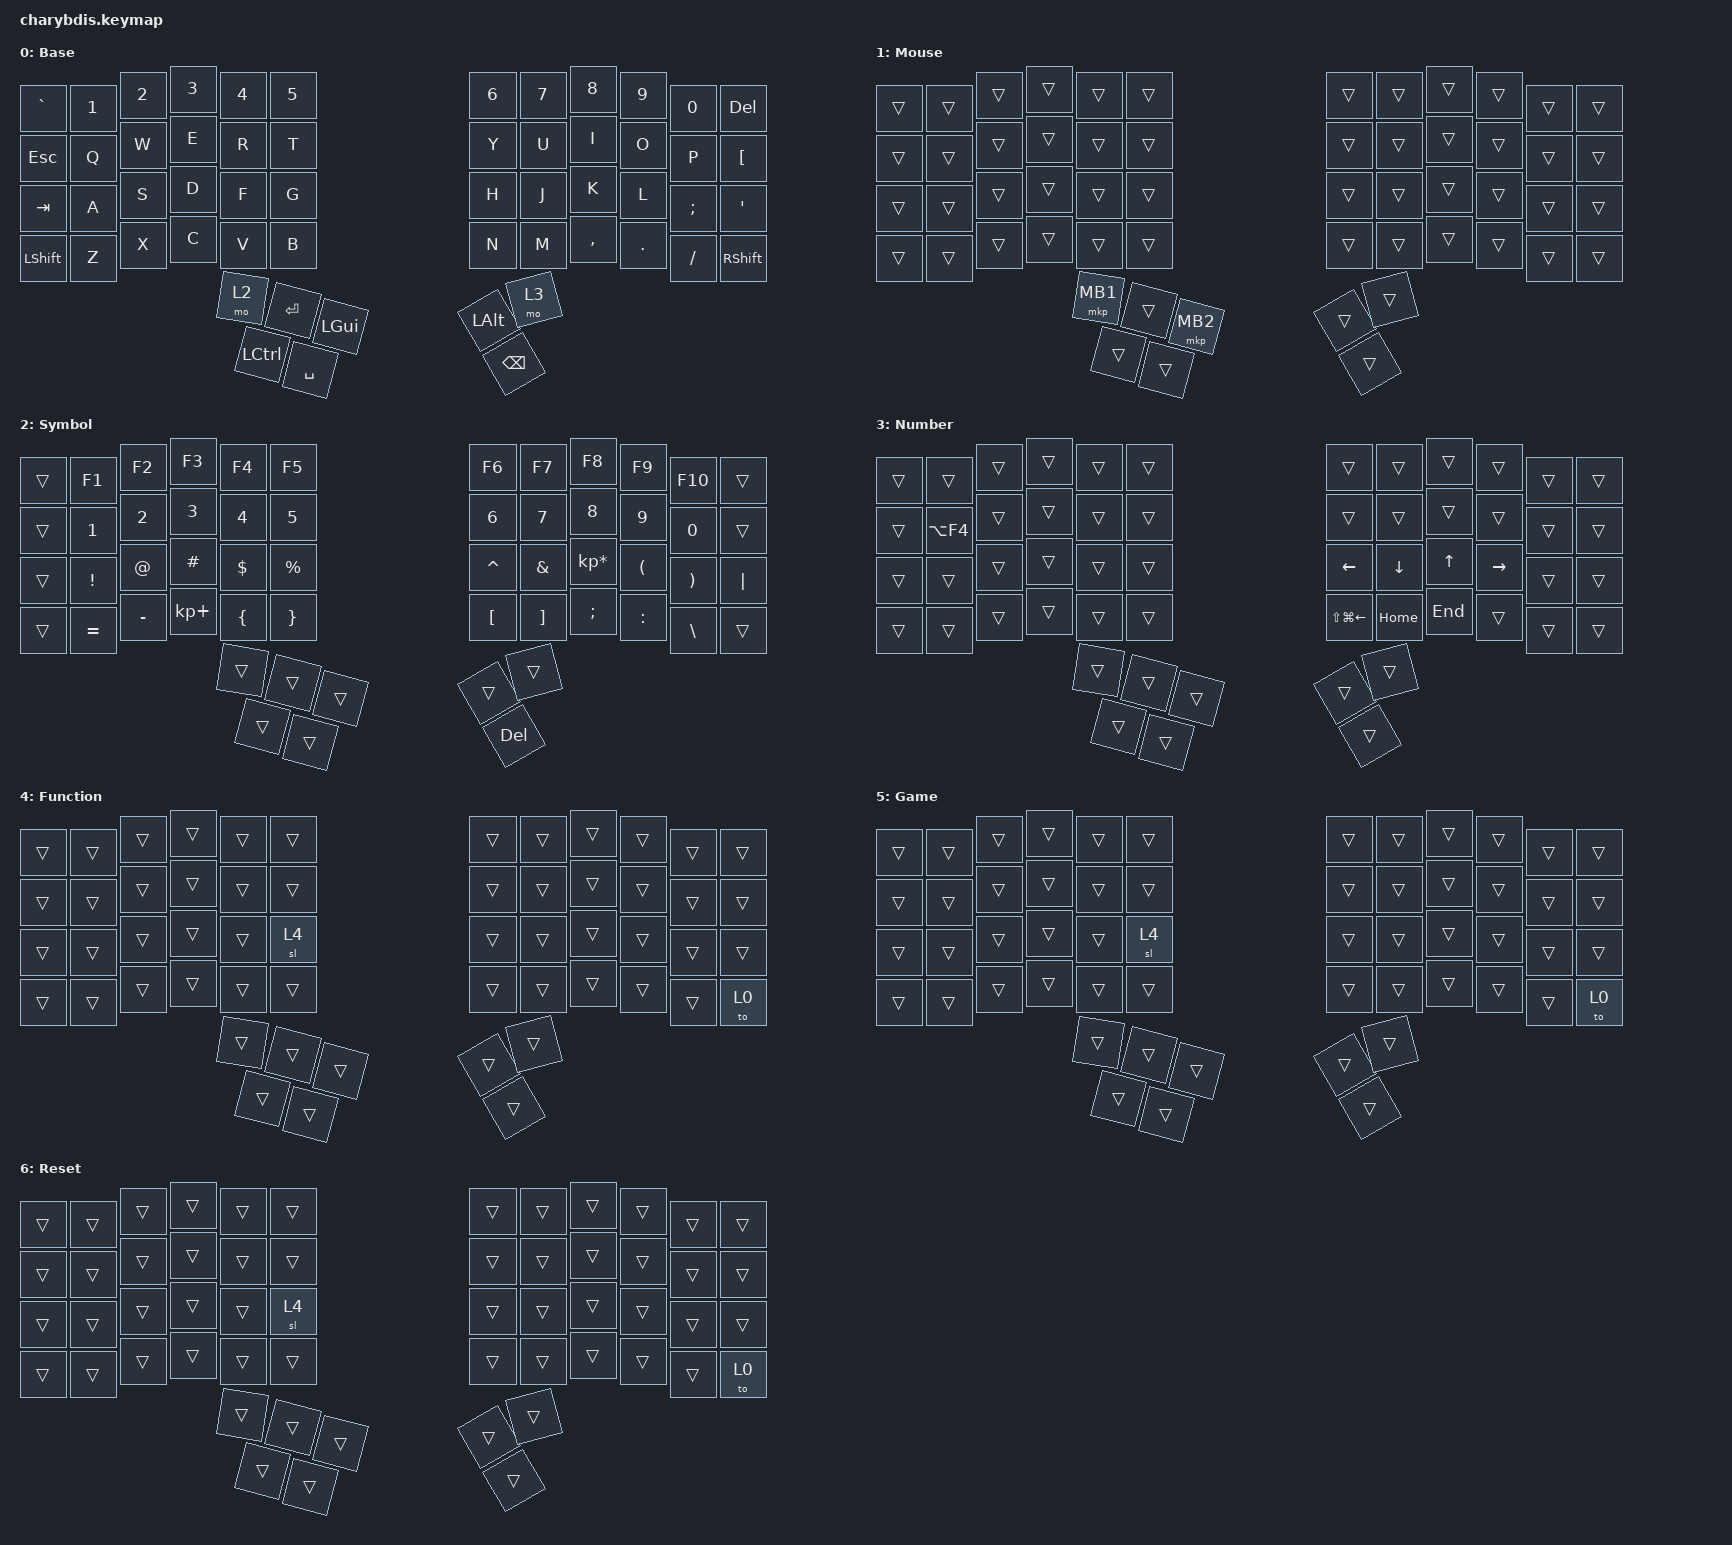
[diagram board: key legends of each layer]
#include <behaviors.dtsi>
#include <dt-bindings/zmk/keys.h>
#include <dt-bindings/zmk/pointing.h>

#define BASE 0
#define MOUSE 1
#define SYMBOL 2
#define NUMBER 3
#define FUNCTION 4
#define GAME 5
#define RESET 6
#define KEYS_L 0 1 2 3 4 10 11 12 13 14 20 21 22 23 24
#define KEYS_R 5 6 7 8 9 15 16 17 18 19 25 26 27 28 29
#define THUMBS 30 31 32 33 34 35

&sk {
    release-after-ms = <600>;
    quick-release;
};

&sl { ignore-modifiers; };

&mt { flavor = "tap-preferred"; };

&lt {
    flavor = "balanced";
    tapping-term-ms = <200>;
    quick-tap-ms = <175>;
};

&caps_word { /delete-property/ ignore-modifiers; };

/ {
    behaviors {
        hml: hml {
            compatible = "zmk,behavior-hold-tap";
            #binding-cells = <2>;
            flavor = "balanced";
            tapping-term-ms = <2000>;
            quick-tap-ms = <175>;
            require-prior-idle-ms = <250>;
            hold-trigger-key-positions = <KEYS_R THUMBS>;
            hold-trigger-on-release;
            bindings = <&kp>, <&kp>;
        };

        hmr: hmr {
            compatible = "zmk,behavior-hold-tap";
            #binding-cells = <2>;
            flavor = "balanced";
            tapping-term-ms = <2000>;
            quick-tap-ms = <175>;
            require-prior-idle-ms = <250>;
            hold-trigger-key-positions = <KEYS_L THUMBS>;
            hold-trigger-on-release;
            bindings = <&kp>, <&kp>;
        };

        hml_s: hml_s {
            compatible = "zmk,behavior-hold-tap";
            #binding-cells = <2>;
            flavor = "balanced";
            tapping-term-ms = <2000>;
            quick-tap-ms = <175>;
            require-prior-idle-ms = <0>;
            hold-trigger-key-positions = <KEYS_R THUMBS>;
            hold-trigger-on-release;
            bindings = <&kp>, <&kp>;
        };

        hmr_s: hmr_s {
            compatible = "zmk,behavior-hold-tap";
            #binding-cells = <2>;
            flavor = "balanced";
            tapping-term-ms = <2000>;
            quick-tap-ms = <175>;
            require-prior-idle-ms = <0>;
            hold-trigger-key-positions = <KEYS_L THUMBS>;
            hold-trigger-on-release;
            bindings = <&kp>, <&kp>;
        };

        smart_shift: smart_shift {
            compatible = "zmk,behavior-mod-morph";
            #binding-cells = <0>;
            bindings = <&sk LSHIFT>, <&caps_word>;

            mods = <(MOD_LSFT)>;
        };
    };

    combos {
        compatible = "zmk,combos";
        timeout-ms = <20>;
        require-prior-idle-ms = <250>;

        combo_reset_layer_left {
            key-positions = <20 24>;
            bindings = <&to RESET>;
        };

        combo_reset_layer_right {
            key-positions = <25 29>;
            bindings = <&to RESET>;
        };

        combo_reset_central {
            key-positions = <32 33>;
            bindings = <&bootloader>;
            require-prior-idle-ms = <2000>;
        };

        combo_normal {
            key-positions = <7 8>;
            bindings = <&to BASE>;
        };

        combo_fn {
            key-positions = <27 28>;
            bindings = <&sl FUNCTION>;
        };
    };

    chosen { zmk,physical-layout = &charybdis_6col_layout; };

    keymap {
        compatible = "zmk,keymap";

        Base {
            label = "Base";
            display-name = "Base";
            bindings = <
&kp GRAVE   &kp N1  &kp N2  &kp N3  &kp N4     &kp N5          &kp N6        &kp N7  &kp N8     &kp N9   &kp N0    &kp DEL
&kp ESC     &kp Q   &kp W   &kp E   &kp R      &kp T           &kp Y         &kp U   &kp I      &kp O    &kp P     &kp LEFT_BRACKET
&kp TAB     &kp A   &kp S   &kp D   &kp F      &kp G           &kp H         &kp J   &kp K      &kp L    &kp SEMI  &kp APOS
&kp LSHIFT  &kp Z   &kp X   &kp C   &kp V      &kp B           &kp N         &kp M   &kp COMMA  &kp DOT  &kp FSLH  &kp RSHIFT
                            &mo 2   &kp RET    &kp LEFT_GUI    &kp LEFT_ALT  &mo 3
                                    &kp LCTRL  &kp SPACE       &kp BSPC
            >;
        };

        Mouse {
            label = "Mouse";
            display-name = "Mouse";
            bindings = <
&trans  &trans  &trans  &trans    &trans  &trans      &trans  &trans  &trans  &trans  &trans  &trans
&trans  &trans  &trans  &trans    &trans  &trans      &trans  &trans  &trans  &trans  &trans  &trans
&trans  &trans  &trans  &trans    &trans  &trans      &trans  &trans  &trans  &trans  &trans  &trans
&trans  &trans  &trans  &trans    &trans  &trans      &trans  &trans  &trans  &trans  &trans  &trans
                        &mkp MB1  &trans  &mkp MB2    &trans  &trans
                                  &trans  &trans      &trans
            >;
        };

        Sym {
            label = "Symbol";
            display-name = "Symbol";
            bindings = <
&trans  &kp F1     &kp F2     &kp F3       &kp F4    &kp F5       &kp F6     &kp F7    &kp F8           &kp F9     &kp F10   &trans
&trans  &kp N1     &kp N2     &kp N3       &kp N4    &kp N5       &kp N6     &kp N7    &kp N8           &kp N9     &kp N0    &trans
&trans  &kp EXCL   &kp AT     &kp HASH     &kp DLLR  &kp PRCNT    &kp CARET  &kp AMPS  &kp KP_MULTIPLY  &kp LPAR   &kp RPAR  &kp PIPE
&trans  &kp EQUAL  &kp MINUS  &kp KP_PLUS  &kp LBRC  &kp RBRC     &kp LBKT   &kp RBKT  &kp SEMI         &kp COLON  &kp BSLH  &trans
                              &trans       &trans    &trans       &trans     &trans
                                           &trans    &trans       &kp DEL
            >;
        };

        Num {
            label = "Number";
            display-name = "Number";
            bindings = <
&trans  &trans      &trans  &trans  &trans  &trans    &trans            &trans    &trans   &trans     &trans  &trans
&trans  &kp LA(F4)  &trans  &trans  &trans  &trans    &trans            &trans    &trans   &trans     &trans  &trans
&trans  &trans      &trans  &trans  &trans  &trans    &kp LEFT          &kp DOWN  &kp UP   &kp RIGHT  &trans  &trans
&trans  &trans      &trans  &trans  &trans  &trans    &kp LS(LG(LEFT))  &kp HOME  &kp END  &trans     &trans  &trans
                            &trans  &trans  &trans    &trans            &trans
                                    &trans  &trans    &trans
            >;
        };

        Fun {
            label = "Function";
            display-name = "Function";
            bindings = <
&trans  &trans  &trans  &trans  &trans  &trans    &trans  &trans  &trans  &trans  &trans  &trans
&trans  &trans  &trans  &trans  &trans  &trans    &trans  &trans  &trans  &trans  &trans  &trans
&trans  &trans  &trans  &trans  &trans  &sl 4     &trans  &trans  &trans  &trans  &trans  &trans
&trans  &trans  &trans  &trans  &trans  &trans    &trans  &trans  &trans  &trans  &trans  &to 0
                        &trans  &trans  &trans    &trans  &trans
                                &trans  &trans    &trans
            >;
        };

        Button {
            label = "Game";
            display-name = "Game";
            bindings = <
&trans  &trans  &trans  &trans  &trans  &trans    &trans  &trans  &trans  &trans  &trans  &trans
&trans  &trans  &trans  &trans  &trans  &trans    &trans  &trans  &trans  &trans  &trans  &trans
&trans  &trans  &trans  &trans  &trans  &sl 4     &trans  &trans  &trans  &trans  &trans  &trans
&trans  &trans  &trans  &trans  &trans  &trans    &trans  &trans  &trans  &trans  &trans  &to 0
                        &trans  &trans  &trans    &trans  &trans
                                &trans  &trans    &trans
            >;
        };

        Reset {
            label = "Reset";
            display-name = "Reset";
            bindings = <
&trans  &trans  &trans  &trans  &trans  &trans    &trans  &trans  &trans  &trans  &trans  &trans
&trans  &trans  &trans  &trans  &trans  &trans    &trans  &trans  &trans  &trans  &trans  &trans
&trans  &trans  &trans  &trans  &trans  &sl 4     &trans  &trans  &trans  &trans  &trans  &trans
&trans  &trans  &trans  &trans  &trans  &trans    &trans  &trans  &trans  &trans  &trans  &to 0
                        &trans  &trans  &trans    &trans  &trans
                                &trans  &trans    &trans
            >;
        };
    };
};
